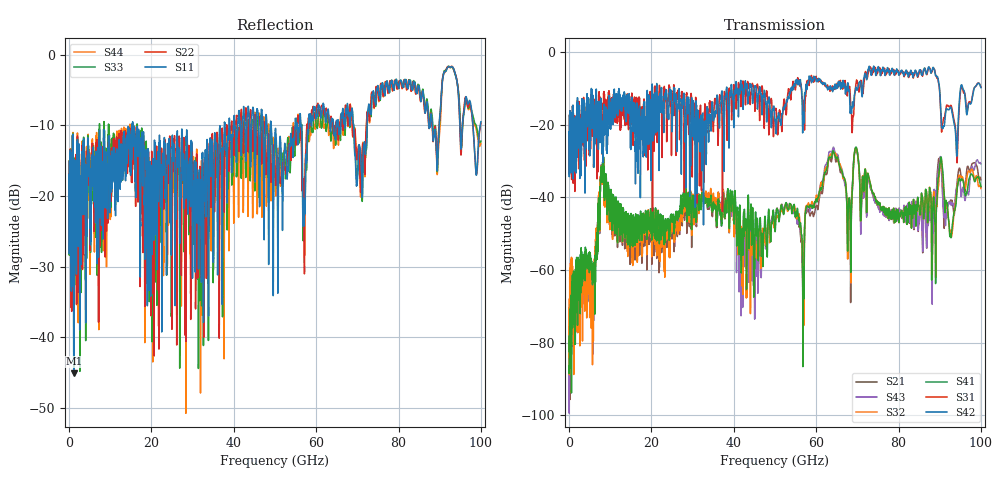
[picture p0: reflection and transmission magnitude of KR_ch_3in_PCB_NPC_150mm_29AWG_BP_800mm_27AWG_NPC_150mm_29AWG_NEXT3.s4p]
# GHz S RI R 45
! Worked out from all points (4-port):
!   4000 points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, 25 MHz to 100 GHz, reference 45 ohm
!   strongest paths, dB at 25 MHz, 25.02 GHz, 50.02 GHz, 75.03 GHz, 100 GHz:
!     S42: -22.2, -20.8, -18.7, -4.1, -9.8
!     S31: -22.2, -13.2, -15.7, -5.0, -9.6
!     S41: -86.4, -45.4, -49.4, -41.4, -37.0
!     S32: -84.0, -48.4, -47.2, -41.4, -37.5
!     S43: -88.5, -47.6, -46.3, -42.3, -30.8
!     S21: -94.1, -49.9, -47.3, -42.2, -35.2
!   lowest |S11| = -45.1 dB at 1.15 GHz (marker M1), VSWR 1.01, Z = 45.4 + j0.277 ohm
!   |S11| at or under -10 dB: start of sweep to 15.35 GHz; 15.47 GHz to 37.72 GHz (22.25 GHz wide, 83.7 % of centre); 49.09 GHz to 54.89 GHz (5.799 GHz wide, 11.2 % of centre) (the widest 3 of 31)
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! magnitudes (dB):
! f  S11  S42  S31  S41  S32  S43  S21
! 25 MHz  -17.4  -22.2  -22.2  -86.4  -84.0  -88.5  -94.1
! 1.15 GHz  -45.1  -24.7  -27.3  -72.9  -88.7  -73.2  -75.1
! 5.85 GHz  -16.3  -11.9  -15.3  -60.2  -68.2  -73.1  -76.4
! 8.1 GHz  -15.1  -19.0  -23.6  -35.0  -34.8  -35.2  -34.8
! 56.67 GHz  -17.3  -19.8  -13.7  -56.8  -56.4  -60.5  -59.1
! 63.88 GHz  -9.3  -10.0  -9.5  -28.3  -28.3  -27.3  -29.0
! 100 GHz  -9.5  -9.8  -9.6  -37.0  -37.5  -30.8  -35.2
